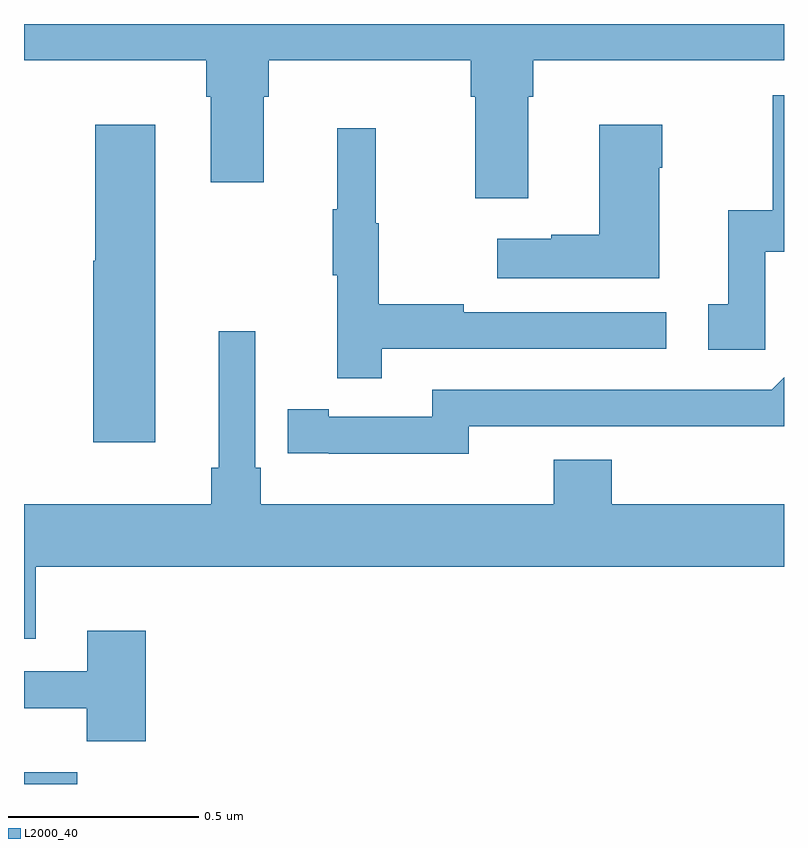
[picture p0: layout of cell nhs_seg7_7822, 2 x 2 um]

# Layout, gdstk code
import gdstk
lib = gdstk.Library(unit=1e-6, precision=1e-09)
def R(c, l, rs):  # rectangles x0, y0, x1, y1
    for r in rs: c.add(gdstk.rectangle(r[:2], r[2:], *l))
def P(c, l, *ps):  # polygons
    for p in ps: c.add(gdstk.Polygon(p, *l))
L2000_40 = (2000, 40)

nhs_seg7_7822 = lib.new_cell('nhs_seg7_7822')
R(nhs_seg7_7822, L2000_40, [(216,1044,216.14,1044.031)])
P(nhs_seg7_7822, L2000_40, [(217.327,1045.808),(217.34,1045.808),(217.34,1045.904),(218,1045.904),(218,1046),(216,1046),(216,1045.904),(216.479,1045.904),(216.479,1045.808),(216.491,1045.808),(216.491,1045.584),(216.631,1045.584),(216.631,1045.808),(216.644,1045.808),(216.644,1045.904),(217.175,1045.904),(217.175,1045.808),(217.187,1045.808),(217.187,1045.542),(217.327,1045.542)],
  [(217.95,1045.401),(218,1045.401),(218,1045.812),(217.971,1045.812),(217.971,1045.51),(217.853,1045.51),(217.853,1045.263),(217.8,1045.263),(217.8,1045.143),(217.95,1045.143)],
  [(216.346,1045.735),(216.188,1045.735),(216.188,1045.377),(216.182,1045.377),(216.182,1044.9),(216.346,1044.9)],
  [(217.672,1045.622),(217.68,1045.622),(217.68,1045.735),(217.514,1045.735),(217.514,1045.445),(217.388,1045.445),(217.388,1045.435),(217.245,1045.435),(217.245,1045.331),(217.672,1045.331)],
  [(216.941,1045.146),(217.69,1045.146),(217.69,1045.242),(217.157,1045.242),(217.157,1045.262),(216.934,1045.262),(216.934,1045.476),(216.926,1045.476),(216.926,1045.726),(216.824,1045.726),(216.824,1045.513),(216.813,1045.513),(216.813,1045.339),(216.824,1045.339),(216.824,1045.068),(216.941,1045.068)],
  [(216.031,1044.572),(218,1044.572),(218,1044.736),(217.547,1044.736),(217.547,1044.853),(217.394,1044.853),(217.394,1044.736),(216.623,1044.736),(216.623,1044.832),(216.609,1044.832),(216.609,1045.192),(216.512,1045.192),(216.512,1044.832),(216.493,1044.832),(216.493,1044.736),(216,1044.736),(216,1044.382),(216.031,1044.382)],
  [(217.17,1044.942),(217.63,1044.942),(217.63,1044.941),(218,1044.941),(218,1045.07),(217.968,1045.038),(217.074,1045.038),(217.074,1044.966),(216.802,1044.966),(216.802,1044.986),(216.694,1044.986),(216.694,1044.87),(216.802,1044.87),(216.802,1044.869),(217.17,1044.869)],
  [(216.32,1044.403),(216.167,1044.403),(216.167,1044.297),(216,1044.297),(216,1044.2),(216.165,1044.2),(216.165,1044.113),(216.32,1044.113)])

lib.write_gds('nhs_seg7_7822.gds')
